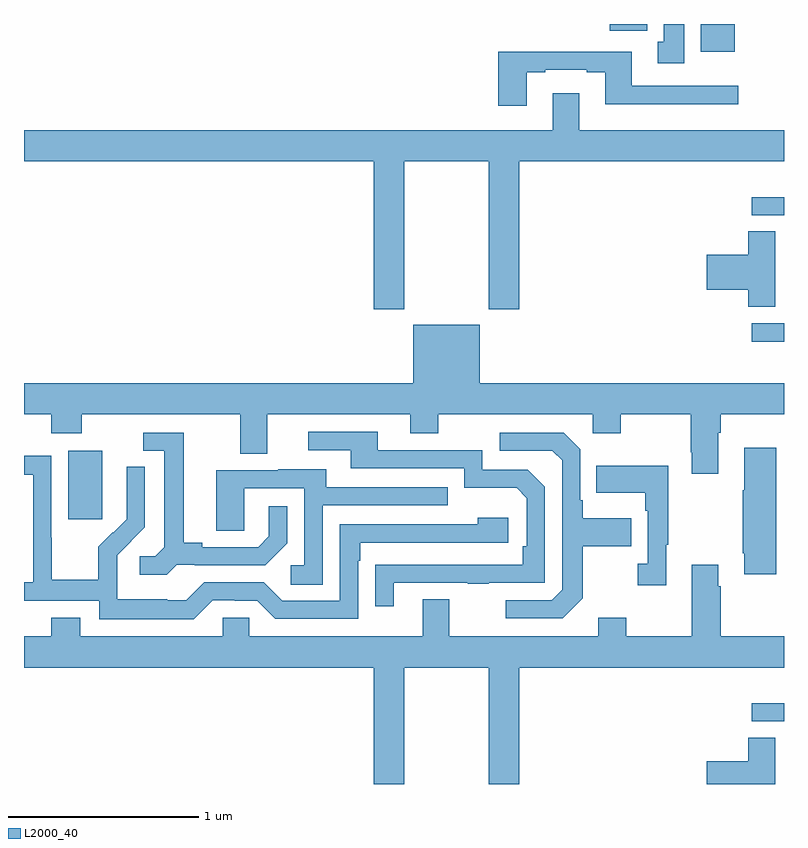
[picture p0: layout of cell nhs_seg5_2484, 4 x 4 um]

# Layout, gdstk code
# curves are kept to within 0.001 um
import gdstk
lib = gdstk.Library(unit=1e-6, precision=1e-09)
def R(c, l, rs):  # rectangles x0, y0, x1, y1
    for r in rs: c.add(gdstk.rectangle(r[:2], r[2:], *l))
def P(c, l, *ps):  # polygons
    for p in ps: c.add(gdstk.Polygon(p, *l))
L2000_40 = (2000, 40)

nhs_seg5_2484 = lib.new_cell('nhs_seg5_2484')
R(nhs_seg5_2484, L2000_40, [(258.831,871.128,259,871.224), (255.233,872.193,255.412,872.554), (258.831,873.127,259,873.225), (258.831,873.792,259,873.888), (258.563,874.652,258.742,874.799), (258.083,874.764,258.279,874.799)])
P(nhs_seg5_2484, L2000_40, [(258.475,874.799),(258.368,874.799),(258.368,874.705),(258.335,874.705),(258.335,874.593),(258.475,874.593)],
  [(257.647,874.545),(257.743,874.545),(257.743,874.557),(257.963,874.557),(257.963,874.545),(258.059,874.545),(258.059,874.376),(258.76,874.376),(258.76,874.473),(258.199,874.473),(258.199,874.654),(257.495,874.654),(257.495,874.368),(257.647,874.368)],
  [(257.001,874.076),(257.446,874.076),(257.446,873.297),(257.606,873.297),(257.606,874.076),(259,874.076),(259,874.24),(257.923,874.24),(257.923,874.435),(257.783,874.435),(257.783,874.24),(255,874.24),(255,874.076),(256.841,874.076),(256.841,873.297),(257.001,873.297)],
  [(258.955,873.707),(258.812,873.707),(258.812,873.584),(258.594,873.584),(258.594,873.401),(258.812,873.401),(258.812,873.31),(258.955,873.31)],
  [(258.655,872.648),(258.668,872.648),(258.668,872.744),(259,872.744),(259,872.908),(257.398,872.908),(257.398,873.217),(257.048,873.217),(257.048,872.908),(255,872.908),(255,872.744),(255.143,872.744),(255.143,872.645),(255.303,872.645),(255.303,872.744),(256.139,872.744),(256.139,872.536),(256.279,872.536),(256.279,872.744),(257.033,872.744),(257.033,872.645),(257.181,872.645),(257.181,872.744),(257.994,872.744),(257.994,872.645),(258.141,872.645),(258.141,872.744),(258.508,872.744),(258.508,872.545),(258.515,872.545),(258.515,872.433),(258.655,872.433)],
  [(256.945,871.857),(257.335,871.857),(257.335,871.852),(257.447,871.852),(257.447,871.857),(257.742,871.857),(257.742,872.364),(257.652,872.454),(257.412,872.454),(257.412,872.556),(256.861,872.556),(256.861,872.652),(256.497,872.652),(256.497,872.556),(256.721,872.556),(256.721,872.46),(257.316,872.46),(257.316,872.357),(257.593,872.357),(257.646,872.304),(257.646,872.05),(257.626,872.05),(257.626,871.953),(256.849,871.952),(256.849,871.734),(256.945,871.734)],
  [(257.941,871.777),(257.941,872.05),(258.197,872.05),(258.197,872.197),(257.941,872.197),(257.941,872.293),(257.928,872.293),(257.928,872.562),(257.841,872.649),(257.505,872.649),(257.505,872.553),(257.781,872.553),(257.832,872.502),(257.832,871.821),(257.778,871.767),(257.535,871.767),(257.535,871.671),(257.835,871.671)],
  [(255.804,871.953),(255.898,871.953),(255.898,871.95),(256.27,871.95),(256.386,872.066),(256.386,872.26),(256.289,872.26),(256.289,872.103),(256.232,872.046),(255.937,872.046),(255.937,872.069),(255.841,872.069),(255.841,872.649),(255.627,872.649),(255.627,872.553),(255.737,872.553),(255.737,872.045),(255.69,871.998),(255.609,871.998),(255.609,871.901),(255.752,871.901)],
  [(258.959,872.569),(258.791,872.569),(258.791,872.345),(258.784,872.345),(258.784,872.014),(258.791,872.014),(258.791,871.902),(258.959,871.902)],
  [(255.993,871.767),(256.109,871.767),(256.109,871.764),(256.227,871.764),(256.323,871.668),(256.758,871.668),(256.758,871.973),(256.771,871.973),(256.771,872.07),(257.548,872.07),(257.548,872.2),(257.387,872.2),(257.387,872.166),(256.662,872.166),(256.662,871.764),(256.359,871.764),(256.263,871.86),(255.948,871.86),(255.855,871.767),(255.755,871.767),(255.755,871.771),(255.492,871.771),(255.492,871.905),(255.49,871.905),(255.49,872.002),(255.636,872.15),(255.636,872.468),(255.54,872.468),(255.54,872.314),(255.542,872.314),(255.542,872.192),(255.471,872.121),(255.468,872.124),(255.391,872.047),(255.391,871.873),(255.147,871.873),(255.147,872.096),(255.144,872.096),(255.144,872.526),(255,872.526),(255,872.427),(255.048,872.427),(255.048,871.86),(255,871.86),(255,871.764),(255.396,871.764),(255.396,871.667),(255.893,871.667)],
  [(258.379,872.057),(258.391,872.057),(258.391,872.473),(258.013,872.473),(258.013,872.333),(258.27,872.333),(258.27,872.237),(258.282,872.237),(258.282,871.958),(258.231,871.958),(258.231,871.845),(258.379,871.845)],
  [(256.572,872.265),(257.231,872.265),(257.231,872.361),(256.591,872.361),(256.591,872.455),(256.337,872.455),(256.337,872.451),(256.013,872.451),(256.013,872.131),(256.158,872.131),(256.158,872.355),(256.476,872.355),(256.476,871.95),(256.404,871.95),(256.404,871.849),(256.572,871.849)],
  [(259,871.576),(258.668,871.576),(258.668,871.841),(258.655,871.841),(258.655,871.954),(258.515,871.954),(258.515,871.576),(258.171,871.576),(258.171,871.675),(258.023,871.675),(258.023,871.576),(257.239,871.576),(257.239,871.771),(257.099,871.771),(257.099,871.576),(256.185,871.576),(256.185,871.674),(256.047,871.674),(256.047,871.576),(255.295,871.576),(255.295,871.675),(255.143,871.675),(255.143,871.576),(255,871.576),(255,871.412),(256.841,871.412),(256.841,870.799),(257.001,870.799),(257.001,871.412),(257.446,871.412),(257.446,870.799),(257.606,870.799),(257.606,871.412),(259,871.412)],
  [(258.955,871.043),(258.812,871.043),(258.812,870.92),(258.594,870.92),(258.594,870.799),(258.955,870.799)])

lib.write_gds('nhs_seg5_2484.gds')
